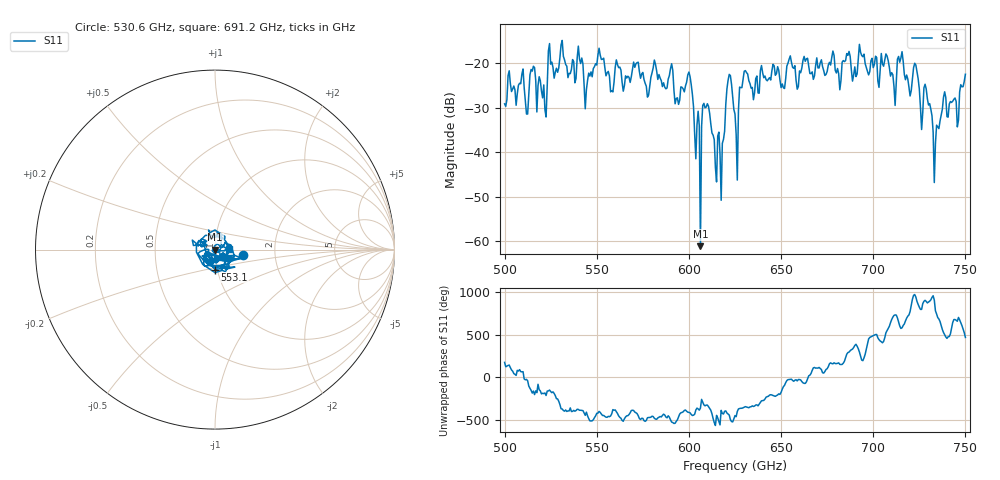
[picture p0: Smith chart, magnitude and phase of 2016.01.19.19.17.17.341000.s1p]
!Created with skrf (http://scikit-rf.org).
# GHz S RI R 50.0
!freq ReS11 ImS11
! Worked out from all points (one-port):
!   401 points, 500 GHz to 750 GHz, reference 50 ohm
!   lowest |S11| = -61.1 dB at 606.2 GHz (marker M1), VSWR 1.00, Z = 50.1 - j0.00338 ohm
!   |S11| at or under -10 dB: start of sweep to end of sweep
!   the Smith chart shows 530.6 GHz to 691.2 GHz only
!   S11 on the Smith chart (normalised r, x): 530.6 GHz: 1.37, -0.08; 553.1 GHz: 0.98, -0.22; 691.2 GHz: 1.16, +0.01
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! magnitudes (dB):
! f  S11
! 500 GHz  -29.1
! 508.8 GHz  -24.6
! 511.9 GHz  -31.4
! 515 GHz  -21.8
! 521.2 GHz  -24.9
! 525 GHz  -20.2
! 530.6 GHz  -15.9
! 531.2 GHz  -14.9
! 544.4 GHz  -25.9
! 553.1 GHz  -19.1
! 562.5 GHz  -20.9
! 590 GHz  -21.2
! 593.8 GHz  -27.8
! 600 GHz  -22.0
! 605 GHz  -30.8
! 606.2 GHz  -61.1
! 609.4 GHz  -29.8
! 618.1 GHz  -38.0
! 621.9 GHz  -22.5
! 625 GHz  -31.4
! 630.6 GHz  -21.7
! 656.2 GHz  -20.9
! 687.5 GHz  -18.5
! 691.2 GHz  -22.4
! 718.8 GHz  -23.5
! 723.1 GHz  -20.4
! 733.8 GHz  -38.0
! 750 GHz  -22.5
